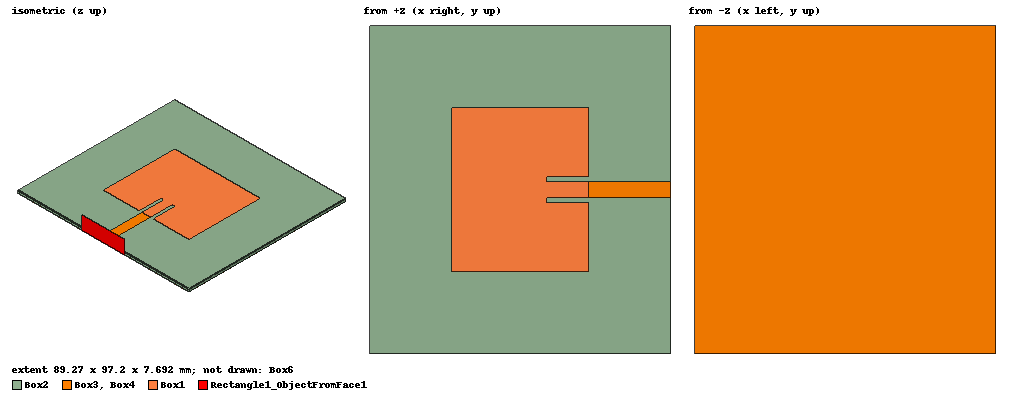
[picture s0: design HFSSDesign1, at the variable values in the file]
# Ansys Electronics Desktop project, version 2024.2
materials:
  vacuum: permittivity=1
  copper: permeability=0.999991 conductivity=58000000
  Arlon CuClad 217 (tm): permittivity=2.17 dielectric_loss_tangent=0.0009
  pec: conductivity=1e+30

design HFSSDesign1 (HFSS, HFSS Modal Network, model units mm)
options: Allow_Material_Override
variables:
  h = 1.524mm
  L = (40.8*2.436/2.45) mm
  W = 48.6mm
  x0 = 12.4mm
  w0 = 4.8mm
  t = 0.036mm
  dx = W/2
  AddSpace = 30.6mm
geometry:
  Box1 [copper] = box(corner=(-L/2, -W/2, 0mm), size=(L, W, t))
  Box2 [Arlon CuClad 217 (tm)] = box(corner=(-L/2-dx, -W/2-dx, -h), size=(L+2*dx, W+2*dx, h))
  Box3 [copper] = box(corner=(-L/2-dx, -W/2-dx, -h-t), size=(L+2*dx, W+2*dx, t))
  Box4 [copper] = box(corner=(L/2, -w0/2, 0mm), size=(dx, w0, t))
  Box5 = box(corner=(L/2-x0, -w0/2-w0/3, 0mm), size=(x0, w0/3, t))
  Box5_1 = Box5.duplicate_mirror(point=(0mm, 0mm, 0mm), normal=(0mm, 1mm, 0mm))
  Box5.unite(Box5_1)
  Box1.subtract(Box5)
  Rectangle1 = rectangle(corner=(L/2+dx, -2.5*w0, -h-t), y_size=5*w0, z_size=5*h+2*t)
  Rectangle1_ObjectFromFace1 [pec] = object_from(Rectangle1.face(at (44.5834, 0, 2.286)))
  Rectangle1_ObjectFromFace1.thicken(0.1mm)
  Box6 [vacuum] = box(corner=(-L/2-dx-AddSpace, -W/2-dx-AddSpace, -h-t-AddSpace), size=(L+2*dx+2*AddSpace, W+2*dx+2*AddSpace, h+2*t+2*AddSpace))
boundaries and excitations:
  Rad1: Radiation Objects=Box6
  Waveport: Wave Port Objects=Rectangle1 WavePortType=Default NumModes=1 Modes{Mode1{IntLine{(44583.429mm, 1000mm, -1000mm) -> (44.583429, 1, 0)} CharImp=Zpi RenormImp=50ohm}}
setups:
  Setup1: HfssDriven Frequency=2.45GHz MaxDeltaS=0.03 MaximumPasses=12 MinimumPasses=1 MinimumConvergedPasses=2 PercentRefinement=30 BasisOrder=2 PortAccuracy=2 DrivenSolverType="Direct Solver"
    sweep Sweep: 2.2GHz to 2.7GHz, 251 points; Type=Interpolating SaveFields InterpTolerance=0.5 InterpMaxSolns=250 InterpUsePortImped=false PassivityErrorTolerance=0.0001
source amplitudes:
  Waveport:1: 1W 0deg
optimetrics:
  ParametricSetup1: Parametric Sim._Setups=[Setup1]
    sweep x0: LIN 11.9mm 12.9mm 1mm
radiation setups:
  Infinite Sphere1: Infinite Sphere Theta=-180deg..180deg step 1deg Phi=0deg..90deg step 90deg
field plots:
  Mag_E1: E Field over a plane on Setup1 : LastAdaptive at Freq=2.45GHz Phase=0deg
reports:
  Directivity Plot 1: dB(DirPhi), dB(DirTheta) vs Theta on Setup1 : LastAdaptive, Infinite Sphere1 [Phi=0deg Freq=2.45GHz]
  S Parameter Plot 1: dB(S(Waveport,Waveport)) vs Freq on Setup1 : Sweep; markers m1 at 2.438GHz
  S Parameter Plot 2: dB(S(Waveport,Waveport)) vs Freq on Setup1 : Sweep [x0=all]
